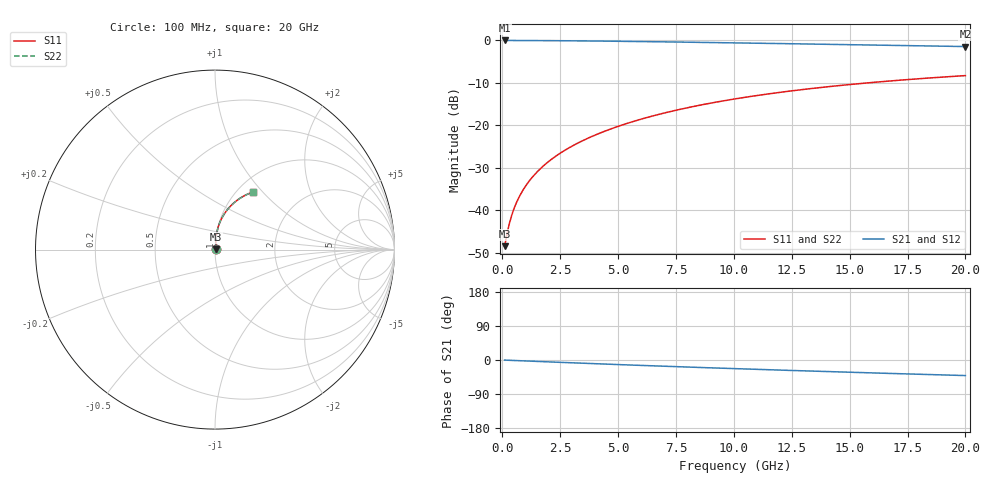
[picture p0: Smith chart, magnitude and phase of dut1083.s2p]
! Touchstone file exported from HFSS 2024.1.0
!  File:  C:/UserFiles/LocalFiles/RDL_TSV_Batchsim/temp_RDL_bottom_1083_1780053257.aedt
!  Generated:  07:16:59 PM May 29, 2026
!  Design:  RDL_bottom
!  Project:  temp_RDL_bottom_1083_1780053257
!  Setup:  Setup1
!  Solution:  Sweep
! Variables:
!  dtsv = 10.80580581um
!  hbump = 3um
!  htsv = 70.41um
!  ldown = 553.11um
!  lrdl = 100um
!  p = 40
!  p1 = 55.9um
!  rhole = 1um
!  t = 450um
!  tdown = 2.82um
!  trdl = 3.915915916um
!  wdown = 23.85um
!  wrdl = 20um
# GHz S MA R 50.000000
! Terminal data exported
! Port[1] = RDL1_T1
! Port[2] = RDL1_T2
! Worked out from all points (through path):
!   200 points, 100 MHz to 20 GHz, reference 50 ohm
!   highest |S21| = -0.03 dB at 100 MHz (marker M1); lowest = -1.5 dB at 20 GHz (marker M2)
!   group delay of S21, straight-line fit = 5.66 ps
!   lowest |S11| = -48.5 dB at 100 MHz (marker M3), VSWR 1.01, Z = 50.3 + j0.205 ohm
!   |S11| at or under -10 dB: start of sweep to 15.82 GHz
!   |S22| runs from -48.5 to -8.3 dB; largest |S21 - S12| = 3.8e-15
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0.1  0.003764 32.7  0.9968 -0.3  0.9968 -0.3  0.003764 32.7
! Gamma 0 0 0 0
! Port Impedance 50 0 50 0
0.2  0.005193 50.7  0.9967 -0.5  0.9967 -0.5  0.005193 50.7
0.3  0.006862 60.0  0.9965 -0.8  0.9965 -0.8  0.006862 60.0
0.4  0.008586 65.4  0.9963 -1.0  0.9963 -1.0  0.008586 65.4
0.5  0.01032 69.0  0.9961 -1.3  0.9961 -1.3  0.01032 69.0
0.6  0.01206 71.6  0.9959 -1.5  0.9959 -1.5  0.01206 71.6
0.8  0.01556 75.2  0.9955 -2.0  0.9955 -2.0  0.01556 75.2
1.1  0.02089 78.6  0.9948 -2.8  0.9948 -2.8  0.02089 78.6
1.3  0.02449 80.1  0.9943 -3.3  0.9943 -3.3  0.02449 80.1
1.6  0.02997 81.6  0.9934 -4.0  0.9934 -4.0  0.02997 81.6
2.1  0.03926 83.2  0.9917 -5.2  0.9917 -5.2  0.03926 83.2
2.7  0.05068 84.1  0.9891 -6.7  0.9891 -6.7  0.05068 84.1
3.5  0.06636 84.5  0.9849 -8.6  0.9849 -8.6  0.06636 84.5
4.2  0.08047 84.3  0.9805 -10.2  0.9805 -10.2  0.08046 84.3
5  0.09699 83.7  0.975 -12.1  0.975 -12.1  0.09697 83.7
6.8  0.1351 81.4  0.9612 -16.1  0.9612 -16.1  0.1351 81.4
8.4  0.1694 78.7  0.9479 -19.5  0.9479 -19.5  0.1694 78.6
10.1  0.2054 75.4  0.9331 -22.9  0.9331 -22.9  0.2053 75.4
11.7  0.2382 72.3  0.919 -26.1  0.919 -26.1  0.2381 72.3
13.4  0.2717 68.9  0.9038 -29.3  0.9038 -29.3  0.2716 68.9
16.7  0.3315 62.6  0.8742 -35.4  0.8742 -35.4  0.3314 62.5
20  0.3842 56.6  0.8448 -41.1  0.8448 -41.1  0.3841 56.6
